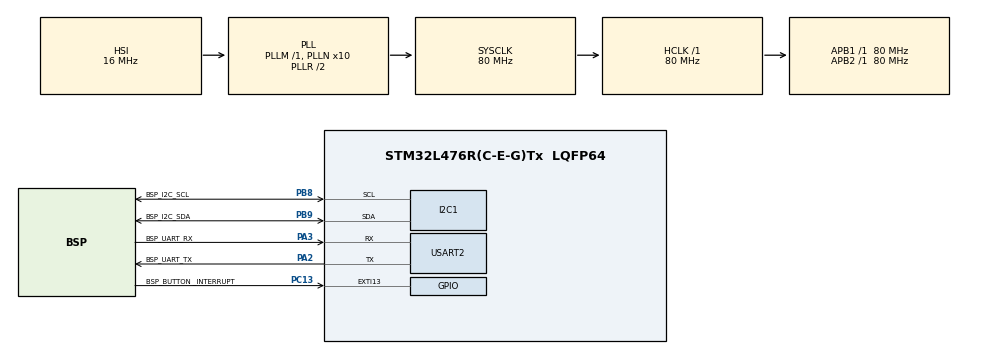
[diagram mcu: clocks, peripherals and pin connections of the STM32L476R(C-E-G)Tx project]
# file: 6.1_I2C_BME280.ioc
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I2C1.Timing=0x10909CEC
Mcu.Family=STM32L4
Mcu.Name=STM32L476R(C-E-G)Tx
Mcu.Package=LQFP64
NVIC.EXTI15_10_IRQn=true\:0\:0\:false\:false\:true\:true\:true\:true
NVIC.PriorityGroup=NVIC_PRIORITYGROUP_4
NVIC.RTC_Alarm_IRQn=true\:0\:0\:false\:false\:true\:true\:true\:true
PA13\ (JTMS-SWDIO).Mode=Serial_Wire
PA13\ (JTMS-SWDIO).Signal=SYS_JTMS-SWDIO
PA14\ (JTCK-SWCLK).Mode=Serial_Wire
PA14\ (JTCK-SWCLK).Signal=SYS_JTCK-SWCLK
PA2.GPIO_Label=BSP_UART_TX
PA2.Mode=Asynchronous
PA2.Signal=USART2_TX
PA3.GPIO_Label=BSP_UART_RX
PA3.Mode=Asynchronous
PA3.Signal=USART2_RX
PB8.GPIO_Label=BSP_I2C_SCL
PB8.Mode=I2C
PB8.Signal=I2C1_SCL
PB9.GPIO_Label=BSP_I2C_SDA
PB9.Mode=I2C
PB9.Signal=I2C1_SDA
PC13.GPIO_Label=BSP_BUTTON _INTERRUPT
PC13.GPIO_ModeDefaultEXTI=GPIO_MODE_IT_RISING
PC13.GPIO_PuPd=GPIO_PULLDOWN
PC13.Signal=GPXTI13
ProjectManager.HeapSize=0x200
ProjectManager.StackSize=0x400
ProjectManager.TargetToolchain=STM32CubeIDE
RCC.ADCFreq_Value=64000000
RCC.AHBFreq_Value=80000000
RCC.APB1Freq_Value=80000000
RCC.APB1TimFreq_Value=80000000
RCC.APB2Freq_Value=80000000
RCC.APB2TimFreq_Value=80000000
RCC.CortexFreq_Value=80000000
RCC.HCLKFreq_Value=80000000
RCC.HSE_VALUE=8000000
RCC.HSI_VALUE=16000000
RCC.LSE_VALUE=32768
RCC.MSI_VALUE=4000000
RCC.PLLN=10
RCC.PLLSourceVirtual=RCC_PLLSOURCE_HSI
RCC.PREFETCH_ENABLE=1
RCC.SYSCLKFreq_VALUE=80000000
RCC.SYSCLKSource=RCC_SYSCLKSOURCE_PLLCLK
RCC.USBFreq_Value=64000000
RCC.VCOOutputFreq_Value=160000000
RTC.Alarm-Alarm\ A=RTC_ALARM_A
RTC.AlarmDateWeekDay-Alarm\ A=15
RTC.AlarmDateWeekDaySel-Alarm\ A=RTC_ALARMDATEWEEKDAYSEL_DATE
RTC.AlarmMaskHours-Alarm\ A=RTC_ALARMMASK_HOURS
RTC.AlarmMaskMinutes-Alarm\ A=RTC_ALARMMASK_MINUTES
RTC.Date=15
RTC.Hours=10
RTC.Hours_A-Alarm\ A=10
RTC.Minutes_A-Alarm\ A=0
RTC.Month=RTC_MONTH_APRIL
RTC.Year=24
USART2.VirtualMode-Asynchronous=VM_ASYNC
VP_RTC_VS_RTC_Activate.Mode=RTC_Enabled
VP_RTC_VS_RTC_Alarm_A_Intern.Mode=Alarm A
VP_RTC_VS_RTC_Calendar.Mode=RTC_Calendar
board=NUCLEO-L476RG

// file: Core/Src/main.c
/* USER CODE BEGIN Header */
/**
  ******************************************************************************
  * @file           : main.c
  * @brief          : Main program body
  ******************************************************************************
  * @attention
  *
  * Copyright (c) 2024 STMicroelectronics.
  * All rights reserved.
  *
  * This software is licensed under terms that can be found in the LICENSE file
  * in the root directory of this software component.
  * If no LICENSE file comes with this software, it is provided AS-IS.
  *
  ******************************************************************************
  */
/* USER CODE END Header */
#include "main.h"

/* USER CODE BEGIN Includes */
#include "BME280_STM32.h"
#include <stdio.h>
#include <string.h>
#include <stdbool.h>
/* USER CODE END Includes */

/* USER CODE BEGIN PD */
#define BME280_ADDRESS 0xEC
/* USER CODE END PD */

/* USER CODE BEGIN PM */
#define CHIP_ADD 0x60
/* USER CODE END PM */

I2C_HandleTypeDef hi2c1;

RTC_HandleTypeDef hrtc;

UART_HandleTypeDef huart2;

/* USER CODE BEGIN PV */
RTC_TimeTypeDef sTime;

RTC_DateTypeDef sDate;

char date[30];

char time[30];

uint8_t chip_id[8];

//For BME280 Sensor
float Temperature, Pressure, Humidity;
char buffer[100];

//For Scanner
char Buffer[100] = {0};
uint8_t Space[] = " - ";
uint8_t StartMSG[] = "Starting I2C Scanning: \r\n";
uint8_t EndMSG[] = "Done! \r\n\r\n";
/* USER CODE END PV */

void SystemClock_Config(void);
static void MX_GPIO_Init(void);
static void MX_USART2_UART_Init(void);
static void MX_I2C1_Init(void);
static void MX_RTC_Init(void);
/* USER CODE BEGIN PFP */

void I2C_Scan(void);

uint8_t Who_am_i(void);
/* USER CODE END PFP */

int main(void)
{

  /* MCU Configuration--------------------------------------------------------*/

  /* Reset of all peripherals, Initializes the Flash interface and the Systick. */
  HAL_Init();

  /* Configure the system clock */
  SystemClock_Config();

  /* Initialize all configured peripherals */
  MX_GPIO_Init();
  MX_USART2_UART_Init();
  MX_I2C1_Init();
  MX_RTC_Init();
  /* USER CODE BEGIN 2 */
  I2C_Scan();
  //readChipID();
  Who_am_i();
  BME280_Config(OSRS_2, OSRS_16, OSRS_1, MODE_NORMAL, T_SB_0p5, IIR_16);

  /* USER CODE END 2 */

  /* Infinite loop */
  while (1)
  {

    /* USER CODE BEGIN 3 */

	  HAL_RTC_GetTime(&hrtc, &sTime, RTC_FORMAT_BIN);
	  HAL_RTC_GetDate(&hrtc, &sDate, RTC_FORMAT_BIN);

	  sprintf(date , "Date : %02d.%02d.%02d \t", sDate.Date, sDate.Month, sDate.Year);
	  sprintf(time , "Time : %02d.%02d.%02d\r\n",sTime.Hours, sTime.Minutes, sTime.Seconds );

	  HAL_UART_Transmit(&huart2, (uint8_t *)date, sizeof(date), 300);
	  HAL_UART_Transmit(&huart2, (uint8_t *)time, sizeof(time), 300);
	  HAL_Delay(1000);

	  //BME280_Measure();
	  //printf("Slave Address : %s\r\n", Buffer);
//	  if(Who_am_i() == CHIP_ADD){
//		  BME280_Measure();
//	  }
//	  HAL_Delay (1000);
//
//	  sprintf(buffer, "Temperature: %.2f C, Pressure: %.2f hPa, Humidity: %.2f %%\r\n", Temperature, Pressure, Humidity);
//	  HAL_UART_Transmit(&huart2, (uint8_t*)buffer, strlen(buffer), 500);

  }
  /* USER CODE END 3 */
}

void SystemClock_Config(void)
{
  RCC_OscInitTypeDef RCC_OscInitStruct = {0};
  RCC_ClkInitTypeDef RCC_ClkInitStruct = {0};

  /** Configure the main internal regulator output voltage
  */
  if (HAL_PWREx_ControlVoltageScaling(PWR_REGULATOR_VOLTAGE_SCALE1) != HAL_OK)
  {
    Error_Handler();
  }

  /** Initializes the RCC Oscillators according to the specified parameters
  * in the RCC_OscInitTypeDef structure.
  */
  RCC_OscInitStruct.OscillatorType = RCC_OSCILLATORTYPE_HSI|RCC_OSCILLATORTYPE_LSI;
  RCC_OscInitStruct.HSIState = RCC_HSI_ON;
  RCC_OscInitStruct.HSICalibrationValue = RCC_HSICALIBRATION_DEFAULT;
  RCC_OscInitStruct.LSIState = RCC_LSI_ON;
  RCC_OscInitStruct.PLL.PLLState = RCC_PLL_ON;
  RCC_OscInitStruct.PLL.PLLSource = RCC_PLLSOURCE_HSI;
  RCC_OscInitStruct.PLL.PLLM = 1;
  RCC_OscInitStruct.PLL.PLLN = 10;
  RCC_OscInitStruct.PLL.PLLP = RCC_PLLP_DIV7;
  RCC_OscInitStruct.PLL.PLLQ = RCC_PLLQ_DIV2;
  RCC_OscInitStruct.PLL.PLLR = RCC_PLLR_DIV2;
  if (HAL_RCC_OscConfig(&RCC_OscInitStruct) != HAL_OK)
  {
    Error_Handler();
  }

  /** Initializes the CPU, AHB and APB buses clocks
  */
  RCC_ClkInitStruct.ClockType = RCC_CLOCKTYPE_HCLK|RCC_CLOCKTYPE_SYSCLK
                              |RCC_CLOCKTYPE_PCLK1|RCC_CLOCKTYPE_PCLK2;
  RCC_ClkInitStruct.SYSCLKSource = RCC_SYSCLKSOURCE_PLLCLK;
  RCC_ClkInitStruct.AHBCLKDivider = RCC_SYSCLK_DIV1;
  RCC_ClkInitStruct.APB1CLKDivider = RCC_HCLK_DIV1;
  RCC_ClkInitStruct.APB2CLKDivider = RCC_HCLK_DIV1;

  if (HAL_RCC_ClockConfig(&RCC_ClkInitStruct, FLASH_LATENCY_4) != HAL_OK)
  {
    Error_Handler();
  }
}

static void MX_I2C1_Init(void)
{

  hi2c1.Instance = I2C1;
  hi2c1.Init.Timing = 0x10909CEC;
  hi2c1.Init.OwnAddress1 = 0;
  hi2c1.Init.AddressingMode = I2C_ADDRESSINGMODE_7BIT;
  hi2c1.Init.DualAddressMode = I2C_DUALADDRESS_DISABLE;
  hi2c1.Init.OwnAddress2 = 0;
  hi2c1.Init.OwnAddress2Masks = I2C_OA2_NOMASK;
  hi2c1.Init.GeneralCallMode = I2C_GENERALCALL_DISABLE;
  hi2c1.Init.NoStretchMode = I2C_NOSTRETCH_DISABLE;
  if (HAL_I2C_Init(&hi2c1) != HAL_OK)
  {
    Error_Handler();
  }

  /** Configure Analogue filter
  */
  if (HAL_I2CEx_ConfigAnalogFilter(&hi2c1, I2C_ANALOGFILTER_ENABLE) != HAL_OK)
  {
    Error_Handler();
  }

  /** Configure Digital filter
  */
  if (HAL_I2CEx_ConfigDigitalFilter(&hi2c1, 0) != HAL_OK)
  {
    Error_Handler();
  }

}

static void MX_RTC_Init(void)
{

  RTC_TimeTypeDef sTime = {0};
  RTC_DateTypeDef sDate = {0};
  RTC_AlarmTypeDef sAlarm = {0};

  /** Initialize RTC Only
  */
  hrtc.Instance = RTC;
  hrtc.Init.HourFormat = RTC_HOURFORMAT_24;
  hrtc.Init.AsynchPrediv = 127;
  hrtc.Init.SynchPrediv = 255;
  hrtc.Init.OutPut = RTC_OUTPUT_DISABLE;
  hrtc.Init.OutPutRemap = RTC_OUTPUT_REMAP_NONE;
  hrtc.Init.OutPutPolarity = RTC_OUTPUT_POLARITY_HIGH;
  hrtc.Init.OutPutType = RTC_OUTPUT_TYPE_OPENDRAIN;
  if (HAL_RTC_Init(&hrtc) != HAL_OK)
  {
    Error_Handler();
  }

  /** Initialize RTC and set the Time and Date
  */
  sTime.Hours = 0x10;
  sTime.Minutes = 0x0;
  sTime.Seconds = 0x0;
  sTime.DayLightSaving = RTC_DAYLIGHTSAVING_NONE;
  sTime.StoreOperation = RTC_STOREOPERATION_RESET;
  if (HAL_RTC_SetTime(&hrtc, &sTime, RTC_FORMAT_BCD) != HAL_OK)
  {
    Error_Handler();
  }
  sDate.WeekDay = RTC_WEEKDAY_MONDAY;
  sDate.Month = RTC_MONTH_APRIL;
  sDate.Date = 0x15;
  sDate.Year = 0x24;

  if (HAL_RTC_SetDate(&hrtc, &sDate, RTC_FORMAT_BCD) != HAL_OK)
  {
    Error_Handler();
  }

  /** Enable the Alarm A
  */
  sAlarm.AlarmTime.Hours = 0x10;
  sAlarm.AlarmTime.Minutes = 0x0;
  sAlarm.AlarmTime.Seconds = 0x0;
  sAlarm.AlarmTime.SubSeconds = 0x0;
  sAlarm.AlarmTime.DayLightSaving = RTC_DAYLIGHTSAVING_NONE;
  sAlarm.AlarmTime.StoreOperation = RTC_STOREOPERATION_RESET;
  sAlarm.AlarmMask = RTC_ALARMMASK_HOURS|RTC_ALARMMASK_MINUTES;
  sAlarm.AlarmSubSecondMask = RTC_ALARMSUBSECONDMASK_ALL;
  sAlarm.AlarmDateWeekDaySel = RTC_ALARMDATEWEEKDAYSEL_DATE;
  sAlarm.AlarmDateWeekDay = 0x15;
  sAlarm.Alarm = RTC_ALARM_A;
  if (HAL_RTC_SetAlarm_IT(&hrtc, &sAlarm, RTC_FORMAT_BCD) != HAL_OK)
  {
    Error_Handler();
  }

}

static void MX_USART2_UART_Init(void)
{

  huart2.Instance = USART2;
  huart2.Init.BaudRate = 115200;
  huart2.Init.WordLength = UART_WORDLENGTH_8B;
  huart2.Init.StopBits = UART_STOPBITS_1;
  huart2.Init.Parity = UART_PARITY_NONE;
  huart2.Init.Mode = UART_MODE_TX_RX;
  huart2.Init.HwFlowCtl = UART_HWCONTROL_NONE;
  huart2.Init.OverSampling = UART_OVERSAMPLING_16;
  huart2.Init.OneBitSampling = UART_ONE_BIT_SAMPLE_DISABLE;
  huart2.AdvancedInit.AdvFeatureInit = UART_ADVFEATURE_NO_INIT;
  if (HAL_UART_Init(&huart2) != HAL_OK)
  {
    Error_Handler();
  }

}

static void MX_GPIO_Init(void)
{
  GPIO_InitTypeDef GPIO_InitStruct = {0};

  /* GPIO Ports Clock Enable */
  __HAL_RCC_GPIOC_CLK_ENABLE();
  __HAL_RCC_GPIOA_CLK_ENABLE();
  __HAL_RCC_GPIOB_CLK_ENABLE();

  /*Configure GPIO pin : BSP_BUTTON__INTERRUPT_Pin */
  GPIO_InitStruct.Pin = BSP_BUTTON__INTERRUPT_Pin;
  GPIO_InitStruct.Mode = GPIO_MODE_IT_RISING;
  GPIO_InitStruct.Pull = GPIO_PULLDOWN;
  HAL_GPIO_Init(BSP_BUTTON__INTERRUPT_GPIO_Port, &GPIO_InitStruct);

  /* EXTI interrupt init*/
  HAL_NVIC_SetPriority(EXTI15_10_IRQn, 0, 0);
  HAL_NVIC_EnableIRQ(EXTI15_10_IRQn);

}

/* USER CODE BEGIN 4 */

void I2C_Scan(void)
{
    uint8_t ret;
    HAL_UART_Transmit(&huart2, StartMSG, sizeof(StartMSG), 10000);

    for (int i = 0; i < 128; i++) {
        ret = HAL_I2C_IsDeviceReady(&hi2c1, (uint16_t)(i << 1), 3, 5);
        if (ret != HAL_OK) { /* No ACK Received At That Address */
            HAL_UART_Transmit(&huart2, Space, sizeof(Space), 10000);
        } else {
        	sprintf((char*)Buffer, "0x%X", i);

            HAL_UART_Transmit(&huart2, (uint8_t *)Buffer, strlen((char*)Buffer), 10000);
        }
    }

    HAL_UART_Transmit(&huart2, EndMSG, sizeof(EndMSG), 10000);
}

void HAL_RTC_AlarmAEventCallback(RTC_HandleTypeDef *hrtc)
{
  /* Prevent unused argument(s) compilation warning */
  UNUSED(hrtc);

  /* NOTE : This function should not be modified, when the callback is needed,
            the HAL_RTC_AlarmAEventCallback could be implemented in the user file
   */
  if(Who_am_i() == CHIP_ADD){
  		  BME280_Measure();
  	  }
  	  //HAL_Delay (1000);

  	  sprintf(buffer, "Temperature: %.2f C, Pressure: %.2f hPa, Humidity: %.2f %%\r\n", Temperature, Pressure, Humidity);
  	  HAL_UART_Transmit(&huart2, (uint8_t*)buffer, strlen(buffer), 500);
}

void HAL_GPIO_EXTI_Callback(uint16_t GPIO_Pin)
{
  /* Prevent unused argument(s) compilation warning */
  //UNUSED(GPIO_Pin);

  /* NOTE: This function should not be modified, when the callback is needed,
           the HAL_GPIO_EXTI_Callback could be implemented in the user file
   */

	if(Who_am_i() == CHIP_ADD){
	  		  BME280_Measure();
	  	  }
	  	  //HAL_Delay (1000);

	  	  sprintf(buffer, "Temperature: %.2f C, Pressure: %.2f hPa, Humidity: %.2f %%\r\n", Temperature, Pressure, Humidity);
	  	  HAL_UART_Transmit(&huart2, (uint8_t*)buffer, strlen(buffer), 500);
}
/* USER CODE END 4 */

void Error_Handler(void)
{
  __disable_irq();
  while (1)
  {
  }
}
